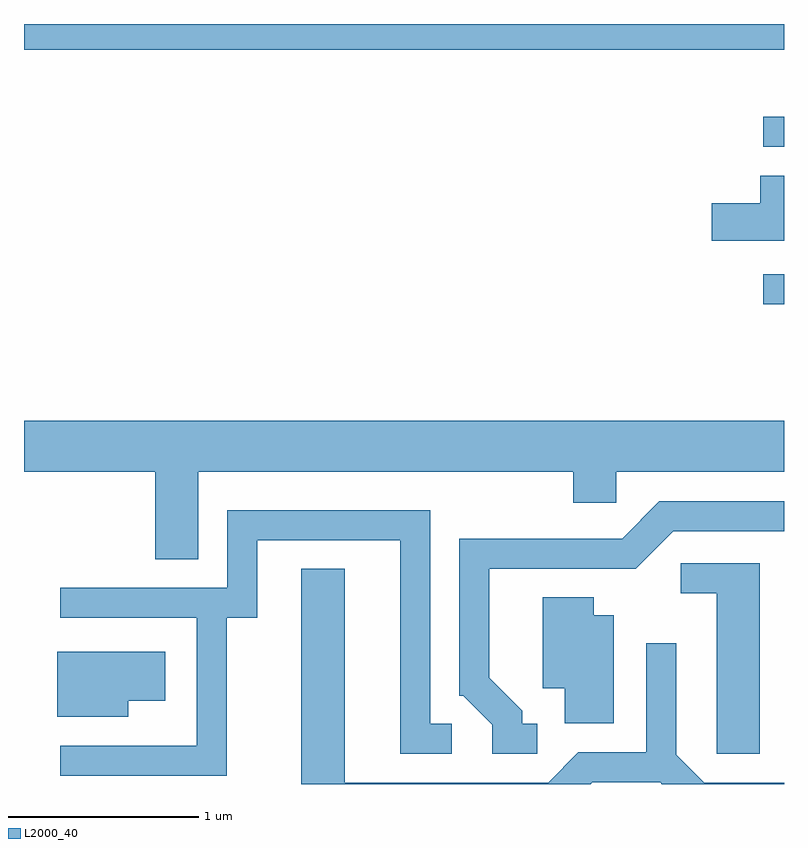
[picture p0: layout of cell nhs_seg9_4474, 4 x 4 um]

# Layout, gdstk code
import gdstk
lib = gdstk.Library(unit=1e-6, precision=1e-09)
def R(c, l, rs):  # rectangles x0, y0, x1, y1
    for r in rs: c.add(gdstk.rectangle(r[:2], r[2:], *l))
def P(c, l, *ps):  # polygons
    for p in ps: c.add(gdstk.Polygon(p, *l))
L2000_40 = (2000, 40)

nhs_seg9_4474 = lib.new_cell('nhs_seg9_4474')
R(nhs_seg9_4474, L2000_40, [(321.503,1954.956,321.611,1955.114), (321.503,1955.786,321.611,1955.944), (317.611,1956.296,321.611,1956.432)])
P(nhs_seg9_4474, L2000_40, [(321.611,1955.634),(321.486,1955.634),(321.486,1955.489),(321.231,1955.489),(321.231,1955.291),(321.611,1955.291)],
  [(318.529,1954.076),(320.501,1954.076),(320.501,1953.911),(320.729,1953.911),(320.729,1954.076),(321.611,1954.076),(321.611,1954.344),(317.611,1954.344),(317.611,1954.076),(318.301,1954.076),(318.301,1953.616),(318.529,1953.616)],
  [(320.313,1952.749),(320.234,1952.749),(320.234,1952.817),(320.059,1952.992),(320.059,1953.566),(320.832,1953.566),(321.027,1953.761),(321.611,1953.761),(321.611,1953.919),(320.954,1953.919),(320.759,1953.724),(319.901,1953.724),(319.901,1952.896),(319.924,1952.896),(320.076,1952.744),(320.076,1952.591),(320.313,1952.591)],
  [(318.679,1953.306),(318.839,1953.306),(318.839,1953.716),(319.591,1953.716),(319.591,1952.591),(319.863,1952.591),(319.863,1952.749),(319.749,1952.749),(319.749,1953.874),(318.681,1953.874),(318.681,1953.464),(317.803,1953.464),(317.803,1953.306),(318.521,1953.306),(318.521,1952.634),(317.803,1952.634),(317.803,1952.476),(318.679,1952.476)],
  [(321.484,1953.594),(321.068,1953.594),(321.068,1953.436),(321.256,1953.436),(321.256,1952.591),(321.484,1952.591)],
  [(320.602,1952.441),(320.959,1952.441),(320.968,1952.432),(321.611,1952.432),(321.611,1952.439),(321.192,1952.439),(321.044,1952.587),(321.044,1953.173),(320.886,1953.173),(320.886,1952.599),(320.529,1952.599),(320.369,1952.439),(319.299,1952.439),(319.299,1953.564),(319.071,1953.564),(319.071,1952.432),(320.593,1952.432)],
  [(320.714,1953.319),(320.609,1953.319),(320.609,1953.414),(320.341,1953.414),(320.341,1952.936),(320.456,1952.936),(320.456,1952.751),(320.714,1952.751)],
  [(318.159,1952.871),(318.354,1952.871),(318.354,1953.129),(317.786,1953.129),(317.786,1952.786),(318.159,1952.786)])

lib.write_gds('nhs_seg9_4474.gds')
